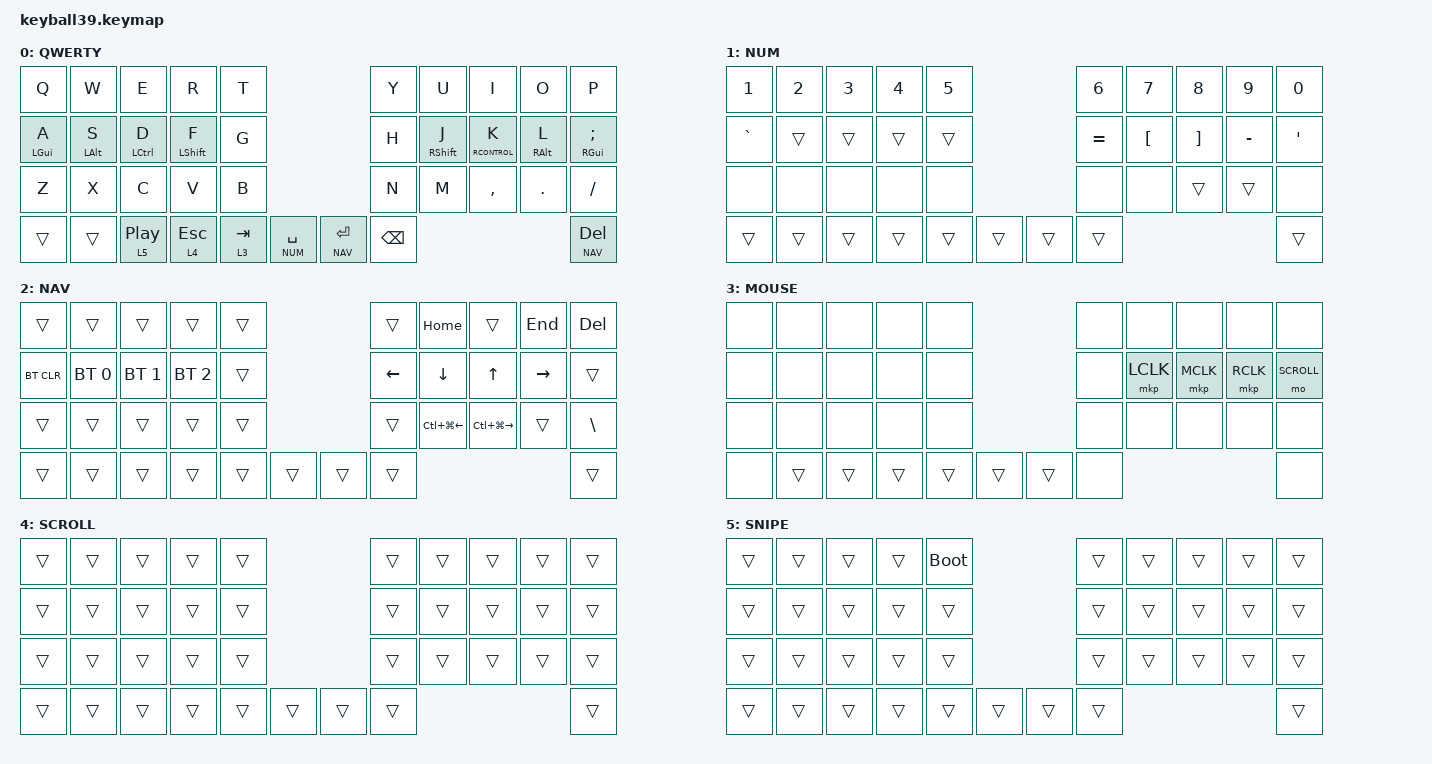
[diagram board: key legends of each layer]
#define DEFAULT 0
#define NUM     1
#define NAV     2
#define MOUSE   3
#define SCROLL  4
#define SNIPE   5

#include <behaviors/mouse_keys.dtsi>
#include <dt-bindings/zmk/mouse.h>
#include <behaviors.dtsi>
#include <dt-bindings/zmk/bt.h>
#include <dt-bindings/zmk/keys.h>

// &lt {
//     tapping-term-ms = <240>;
//     flavor = "balanced";
//     quick-tap-ms = <150>;
// };

// &mt {
//     tapping-term-ms = <200>;
//     flavor = "tap-preferred";
//     quick-tap-ms = <150>;
// };

&caps_word { continue-list = <UNDERSCORE MINUS>; };

/ {
    // custom shift using mod-morph 

    behaviors {
        hm: homerow_mods {
            compatible = "zmk,behavior-hold-tap";
            #binding-cells = <2>;
            tapping-term-ms = <150>;
            quick-tap-ms = <0>;
            flavor = "tap-preferred";
            bindings = <&kp>, <&kp>;
        };

        // cmqus: comma_question {
        //     compatible = "zmk,behavior-mod-morph";
        //     label = "COMMA_QUESTION";
        //     #binding-cells = <0>;
        //     bindings = <&kp COMMA>, <&kp QUESTION>;

        //     mods = <(MOD_LSFT|MOD_RSFT)>;
        // };

        // dtsmi: dot_semi {
        //     compatible = "zmk,behavior-mod-morph";
        //     label = "DOT_SEMI";
        //     #binding-cells = <0>;
        //     bindings = <&kp DOT>, <&kp SEMI>;

        //     mods = <(MOD_LSFT|MOD_RSFT)>;
        // };
    };

    // macros {
    //     Hiragana: Hiragana {
    //         compatible = "zmk,behavior-macro";
    //         #binding-cells = <0>;
    //         bindings = <&kp LC(SPACE)>;
    //         label = "HIRAGANA";
    //     };
    // };

    keymap {
        compatible = "zmk,keymap";

        default_layer {
            label = "QWERTY";
            bindings = <
&kp Q          &kp W      &kp E              &kp R        &kp T                                        &kp Y     &kp U          &kp I           &kp O         &kp P
&hm LEFT_GUI A &hm LALT S &hm LCTRL D        &hm LSHIFT F &kp G                                        &kp H     &hm RSHIFT J   &hm RCONTROL K  &hm RALT L    &hm RIGHT_GUI SEMI
&kp Z          &kp X      &kp C              &kp V        &kp B                                        &kp N     &kp M          &kp COMMA       &kp DOT       &kp SLASH
&trans         &trans     &lt 5 C_PLAY_PAUSE &lt 4 ESC    &lt 3 TAB &lt NUM SPACE        &lt NAV ENTER &kp BSPC                                               &lt NAV DEL
            >;
        };

        number_layer {
            label = "NUM";
            bindings = <
&kp NUMBER_1  &kp NUMBER_2  &kp NUMBER_3  &kp NUMBER_4  &kp NUMBER_5                   &kp NUMBER_6  &kp NUMBER_7  &kp NUMBER_8  &kp NUMBER_9  &kp NUMBER_0
&kp GRAVE     &trans        &trans        &trans        &trans                         &kp EQUAL     &kp LBKT      &kp RBKT      &kp MINUS     &kp SQT
&none         &none         &none         &none         &none                          &none         &none         &trans        &trans        &none
&trans        &trans        &trans        &trans        &trans       &trans     &trans &trans                                                  &trans
            >;
        };

        nav_layer {
            label = "NAV";
            bindings = <
&trans           &trans        &trans        &trans        &trans                       &trans          &kp HOME         &trans            &kp END   &kp DEL
&bt BT_CLR       &bt BT_SEL 0  &bt BT_SEL 1  &bt BT_SEL 2  &trans                       &kp LEFT        &kp DOWN         &kp UP            &kp RIGHT &trans
&trans           &trans        &trans        &trans        &trans                       &trans          &kp LC(LG(LEFT)) &kp LC(LG(RIGHT)) &trans    &kp BSLH
&trans           &trans        &trans        &trans        &trans &trans        &trans  &trans                                                       &trans
            >;
        };

        mouse_layer {
            label = "MOUSE";
            bindings = <
&none           &none           &none         &none      &none                   &none &none     &none     &none     &none
&none           &none           &none         &none      &none                   &none &mkp LCLK &mkp MCLK &mkp RCLK &mo SCROLL
&none           &none           &none         &none      &none                   &none &none     &none     &none     &none
&none           &trans          &trans        &trans     &trans  &trans  &trans  &none                               &none
            >;
        };

        scroll_layer {
            label = "SCROLL";
            bindings = <
&trans  &trans  &trans  &trans  &trans                  &trans  &trans  &trans  &trans  &trans
&trans  &trans  &trans  &trans  &trans                  &trans  &trans  &trans  &trans  &trans
&trans  &trans  &trans  &trans  &trans                  &trans  &trans  &trans  &trans  &trans
&trans  &trans  &trans  &trans  &trans  &trans  &trans  &trans                          &trans
            >;
        };

        snipe_layer {
            label = "SNIPE";
            bindings = <
&trans  &trans  &trans  &trans  &bootloader                  &trans  &trans  &trans  &trans  &trans
&trans  &trans  &trans  &trans  &trans                       &trans  &trans  &trans  &trans  &trans
&trans  &trans  &trans  &trans  &trans                       &trans  &trans  &trans  &trans  &trans
&trans  &trans  &trans  &trans  &trans       &trans  &trans  &trans                          &trans
            >;
        };
    };
};
